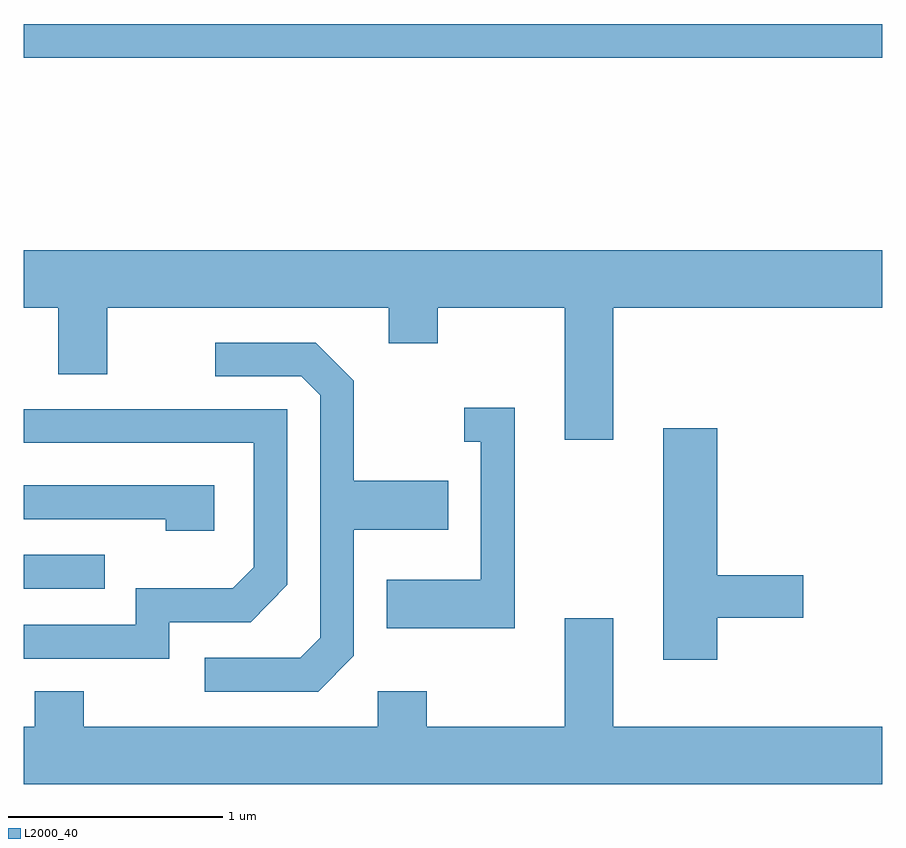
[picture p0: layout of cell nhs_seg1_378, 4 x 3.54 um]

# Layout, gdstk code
import gdstk
lib = gdstk.Library(unit=1e-6, precision=1e-09)
def R(c, l, rs):  # rectangles x0, y0, x1, y1
    for r in rs: c.add(gdstk.rectangle(r[:2], r[2:], *l))
def P(c, l, *ps):  # polygons
    for p in ps: c.add(gdstk.Polygon(p, *l))
L2000_40 = (2000, 40)

nhs_seg1_378 = lib.new_cell('nhs_seg1_378')
R(nhs_seg1_378, L2000_40, [(195.611,944.886,195.988,945.044), (195.611,947.361,199.611,947.519)])
P(nhs_seg1_378, L2000_40, [(198.359,946.196),(199.611,946.196),(199.611,946.464),(195.611,946.464),(195.611,946.196),(195.771,946.196),(195.771,945.886),(195.999,945.886),(195.999,946.196),(197.311,946.196),(197.311,946.031),(197.539,946.031),(197.539,946.196),(198.131,946.196),(198.131,945.581),(198.359,945.581)],
  [(197.149,944.574),(197.149,945.161),(197.589,945.161),(197.589,945.389),(197.149,945.389),(197.149,945.857),(196.972,946.034),(196.503,946.034),(196.503,945.876),(196.904,945.876),(196.991,945.789),(196.991,944.657),(196.899,944.564),(196.453,944.564),(196.453,944.406),(196.982,944.406)],
  [(197.899,945.729),(197.663,945.729),(197.663,945.571),(197.741,945.571),(197.741,944.929),(197.301,944.929),(197.301,944.701),(197.899,944.701)],
  [(196.289,944.731),(196.667,944.731),(196.839,944.904),(196.839,945.724),(195.611,945.724),(195.611,945.566),(196.681,945.566),(196.681,944.987),(196.584,944.889),(196.131,944.889),(196.131,944.719),(195.611,944.719),(195.611,944.561),(196.289,944.561)],
  [(198.844,944.751),(199.244,944.751),(199.244,944.949),(198.844,944.949),(198.844,945.634),(198.591,945.634),(198.591,944.556),(198.844,944.556)],
  [(196.499,945.369),(195.611,945.369),(195.611,945.211),(196.271,945.211),(196.271,945.156),(196.499,945.156)],
  [(199.611,944.244),(198.359,944.244),(198.359,944.749),(198.131,944.749),(198.131,944.244),(197.489,944.244),(197.489,944.409),(197.261,944.409),(197.261,944.244),(195.889,944.244),(195.889,944.409),(195.661,944.409),(195.661,944.244),(195.611,944.244),(195.611,943.976),(199.611,943.976)])

lib.write_gds('nhs_seg1_378.gds')
